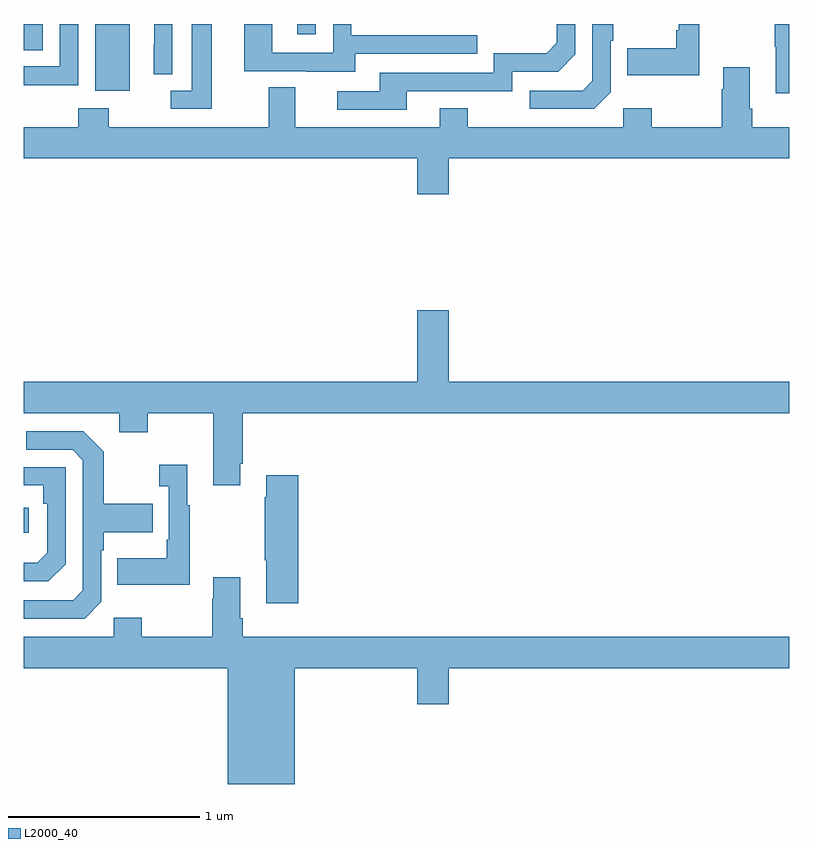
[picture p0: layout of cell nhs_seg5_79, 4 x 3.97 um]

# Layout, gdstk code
import gdstk
lib = gdstk.Library(unit=1e-6, precision=1e-09)
def R(c, l, rs):  # rectangles x0, y0, x1, y1
    for r in rs: c.add(gdstk.rectangle(r[:2], r[2:], *l))
def P(c, l, *ps):  # polygons
    for p in ps: c.add(gdstk.Polygon(p, *l))
L2000_40 = (2000, 40)

nhs_seg5_79 = lib.new_cell('nhs_seg5_79')
R(nhs_seg5_79, L2000_40, [(115,852.14,115.024,852.27), (115.373,854.45,115.552,854.799), (115,854.662,115.099,854.799), (116.429,854.745,116.526,854.799)])
P(nhs_seg5_79, L2000_40, [(119,854.799),(118.924,854.799),(118.924,854.679),(118.931,854.679),(118.931,854.436),(119,854.436)],
  [(115.981,854.799),(115.877,854.799),(115.877,854.451),(115.767,854.451),(115.767,854.355),(115.981,854.355)],
  [(115.776,854.799),(115.682,854.799),(115.682,854.69),(115.68,854.69),(115.68,854.536),(115.776,854.536)],
  [(115.284,854.799),(115.188,854.799),(115.188,854.577),(115,854.577),(115,854.479),(115.284,854.479)],
  [(116.731,854.643),(117.371,854.643),(117.371,854.739),(116.712,854.739),(116.712,854.799),(116.616,854.799),(116.616,854.649),(116.298,854.649),(116.298,854.799),(116.153,854.799),(116.153,854.553),(116.477,854.553),(116.477,854.549),(116.731,854.549)],
  [(118.531,854.799),(118.422,854.799),(118.422,854.767),(118.41,854.767),(118.41,854.671),(118.153,854.671),(118.153,854.531),(118.531,854.531)],
  [(118.068,854.442),(118.068,854.711),(118.081,854.711),(118.081,854.799),(117.972,854.799),(117.972,854.502),(117.921,854.451),(117.645,854.451),(117.645,854.355),(117.981,854.355)],
  [(117.001,854.448),(117.552,854.448),(117.552,854.55),(117.792,854.55),(117.882,854.64),(117.882,854.799),(117.786,854.799),(117.786,854.7),(117.733,854.647),(117.456,854.647),(117.456,854.544),(116.861,854.544),(116.861,854.448),(116.637,854.448),(116.637,854.352),(117.001,854.352)],
  [(117.22,854.096),(119,854.096),(119,854.26),(118.808,854.26),(118.808,854.356),(118.795,854.356),(118.795,854.572),(118.655,854.572),(118.655,854.459),(118.648,854.459),(118.648,854.26),(118.281,854.26),(118.281,854.359),(118.134,854.359),(118.134,854.26),(117.321,854.26),(117.321,854.359),(117.173,854.359),(117.173,854.26),(116.419,854.26),(116.419,854.468),(116.279,854.468),(116.279,854.26),(115.443,854.26),(115.443,854.359),(115.283,854.359),(115.283,854.26),(115,854.26),(115,854.096),(117.056,854.096),(117.056,853.908),(117.22,853.908)],
  [(116.131,852.499),(116.144,852.499),(116.144,852.764),(119,852.764),(119,852.928),(117.22,852.928),(117.22,853.303),(117.056,853.303),(117.056,852.928),(115,852.928),(115,852.764),(115.499,852.764),(115.499,852.665),(115.647,852.665),(115.647,852.764),(115.991,852.764),(115.991,852.387),(116.131,852.387)],
  [(115.404,851.778),(115.404,852.047),(115.417,852.047),(115.417,852.143),(115.673,852.143),(115.673,852.291),(115.417,852.291),(115.417,852.563),(115.311,852.669),(115.011,852.669),(115.011,852.573),(115.254,852.573),(115.308,852.519),(115.308,851.838),(115.257,851.787),(115,851.787),(115,851.691),(115.317,851.691)],
  [(115.867,852.283),(115.855,852.283),(115.855,852.496),(115.707,852.496),(115.707,852.383),(115.758,852.383),(115.758,852.103),(115.746,852.103),(115.746,852.007),(115.489,852.007),(115.489,851.867),(115.867,851.867)],
  [(115.218,851.976),(115.218,852.483),(115,852.483),(115,852.387),(115.102,852.387),(115.102,852.29),(115.122,852.29),(115.122,852.036),(115.069,851.983),(115,851.983),(115,851.886),(115.128,851.886)],
  [(116.435,852.439),(116.267,852.439),(116.267,852.326),(116.26,852.326),(116.26,851.995),(116.267,851.995),(116.267,851.772),(116.435,851.772)],
  [(116.416,851.432),(117.056,851.432),(117.056,851.244),(117.22,851.244),(117.22,851.432),(119,851.432),(119,851.596),(116.144,851.596),(116.144,851.692),(116.131,851.692),(116.131,851.908),(115.991,851.908),(115.991,851.795),(115.984,851.795),(115.984,851.596),(115.617,851.596),(115.617,851.695),(115.47,851.695),(115.47,851.596),(115,851.596),(115,851.432),(116.066,851.432),(116.066,850.826),(116.416,850.826)])

lib.write_gds('nhs_seg5_79.gds')
